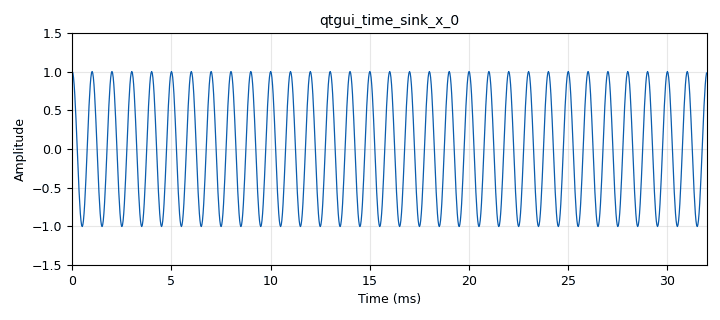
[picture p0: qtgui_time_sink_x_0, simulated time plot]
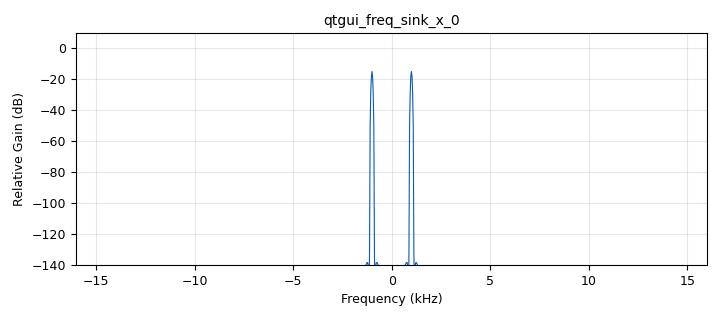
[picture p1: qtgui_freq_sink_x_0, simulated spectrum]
options:
  parameters:
    description: Exemplo 01 - Geracao de uma senoide simples
    generate_options: qt_gui
    id: exemplo_01_senoide
    output_language: python
    title: Exemplo 01 - Senoide Simples
  states: {}

blocks:
- name: samp_rate
  id: variable
  parameters:
    value: '32000'
  states: {}
- name: freq
  id: variable
  parameters:
    value: '1000'
  states: {}
- name: analog_sig_source_x_0
  id: analog_sig_source_x
  parameters:
    amp: '1'
    freq: freq
    offset: '0'
    phase: '0'
    samp_rate: samp_rate
    type: float
    waveform: analog.GR_COS_WAVE
  states: {}
- name: blocks_throttle_0
  id: blocks_throttle2
  parameters:
    samples_per_second: samp_rate
    type: float
  states: {}
- name: qtgui_time_sink_x_0
  id: qtgui_time_sink_x
  parameters:
    size: '1024'
    srate: samp_rate
    type: float
    ymax: '1.5'
    ymin: '-1.5'
  states: {}
- name: qtgui_freq_sink_x_0
  id: qtgui_freq_sink_x
  parameters:
    bw: samp_rate
    fc: '0'
    fftsize: '1024'
    type: float
  states: {}

connections:
- [analog_sig_source_x_0, '0', blocks_throttle_0, '0']
- [blocks_throttle_0, '0', qtgui_time_sink_x_0, '0']
- [blocks_throttle_0, '0', qtgui_freq_sink_x_0, '0']

metadata:
  file_format: 1
  grc_version: 3.10.0.0
